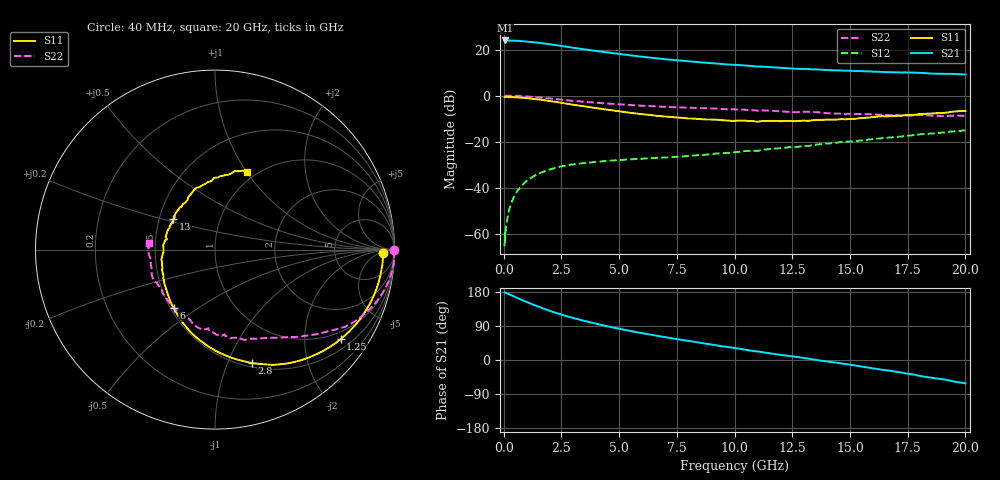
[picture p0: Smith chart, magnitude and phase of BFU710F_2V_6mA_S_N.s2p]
! Filename:  P:\Prog\Test\Noise\ATS_data\Testdata_Net\BFU710\BFU710_2W_A1_2V6mA_D.s2p
! Date/Time: Fri 29/Apr/2011 13:26:59
! BFU710_2W_A1_2V6mA
! bias mode 1: Vout= 2.0000 V, Iout= 6.0300 mA, Vin= 0.8248 V, Iin= 0.0214 mA
! Date/time Wed Mar 16 10:31:57 2011
! Device data file deembeded for feedlines and parallel
! Original file: \BFU710\BFU710_2W_A1_2V6mA_R.s2p
! Feed-files: PR003V01_101208_Feed1.s2p, PR003V01_101208_Feed2.s2p
! Parallel-file: PR003V01_101208_Par.s2p
# MHz S MA R 50
!  Freq-MHz  S11-mag  S11-arg  S21-mag  S21-arg  S12-mag  S12-arg  S22-mag  S22-arg
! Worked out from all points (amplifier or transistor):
!   167 points, 40 MHz to 20 GHz, reference 50 ohm
!   highest |S21| = 23.9 dB at 50 MHz (marker M1)
!   |S21| within 3 dB of that: start of sweep to 2.896 GHz
!   unconditionally stable (mu >= 1): 6.26 GHz to 16.38 GHz; 16.46 GHz to 16.7 GHz
!   at 550 MHz: K = 0.04, MSG = 32.9 dB, |S12| = -41.9 dB
!   at 4.2 GHz: K = 0.69, MSG = 23.8 dB, |S12| = -28.5 dB
!   at 20 GHz: K = 0.80, MSG = 12.1 dB, |S12| = -15.0 dB
!   lowest NFmin = 0.83 dB at 400 MHz
!   S11 on the Smith chart (normalised r, x): 40 MHz: 28, -8; 1.25 GHz: 0.77, -2.95; 2.8 GHz: 0.54, -1.23; 6 GHz: 0.52, -0.40; 13 GHz: 0.59, +0.22; 20 GHz: 0.90, +1.00
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40  0.9369 -1.1  15.68 178.6  0.0005527 87.6  0.9982 -0.2
50  0.9319 -1.6  15.73 178.0  0.001058 63.9  0.9987 -0.5
60  0.9373 -1.5  15.54 177.9  0.0006833 78.7  0.9995 -0.6
240  0.9343 -7.0  15.7 173.4  0.003404 88.6  0.9991 -3.5
600  0.9178 -17.4  15.48 163.4  0.008731 81.9  0.9877 -9.1
1000  0.8857 -28.7  14.91 153.0  0.01433 74.5  0.9629 -14.9
1250  0.8596 -35.5  14.46 146.8  0.01751 70.2  0.9433 -18.2
1550  0.8248 -43.3  13.94 139.7  0.02092 65.5  0.9167 -22.0
1900  0.781 -52.1  13.25 131.8  0.02438 60.7  0.8843 -26.1
2300  0.7294 -61.4  12.38 123.5  0.02798 56.1  0.8452 -30.4
2800  0.6643 -72.0  11.33 114.5  0.03156 50.1  0.7915 -34.6
3400  0.5975 -83.4  10.27 104.7  0.03435 45.6  0.7468 -38.9
4000  0.5394 -94.2  9.332 95.7  0.03702 42.2  0.7057 -42.8
4600  0.4898 -104.0  8.505 87.6  0.03922 39.5  0.6711 -46.3
6000  0.3981 -125.5  6.98 70.7  0.04319 35.3  0.6072 -53.9
6800  0.3613 -136.9  6.321 62.3  0.04542 34.3  0.581 -58.0
8200  0.3198 -155.7  5.462 48.4  0.05057 34.1  0.5458 -65.7
10200  0.2877 177.8  4.603 29.9  0.06114 32.6  0.5015 -78.4
13000  0.2882 143.6  3.826 5.2  0.08218 27.5  0.4505 -98.3
13400  0.2944 139.8  3.724 1.6  0.08628 26.4  0.4431 -103.0
16800  0.3616 102.8  3.229 -28.9  0.1244 11.9  0.3791 -136.8
20000  0.4681 67.7  2.881 -61.6  0.178 -9.8  0.367 174.6
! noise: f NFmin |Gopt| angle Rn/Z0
400  0.8344  0.5475  2.28  0.3225
850  0.8405  0.543  7.22  0.3214
1500  0.8517  0.535  13.91  0.3176
2150  0.8658  0.5245  20.22  0.3115
3100  0.8915  0.5042  29.06  0.2988
4300  0.9326  0.4708  40.13  0.2779
6200  1.018  0.408  58.93  0.2378
8800  1.173  0.329  89.39  0.1807
1.14e+04  1.375  0.2697  123.4  0.1379
1.4e+04  1.622  0.1891  164  0.1279
